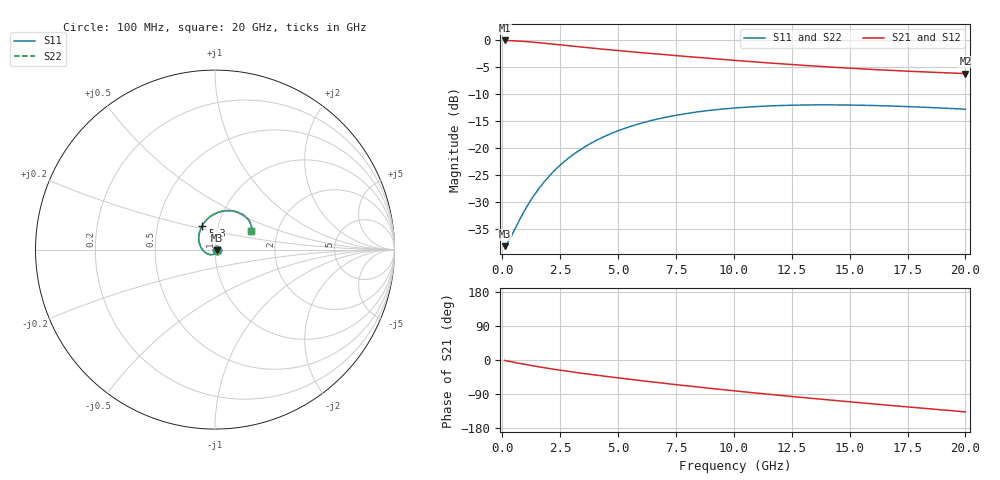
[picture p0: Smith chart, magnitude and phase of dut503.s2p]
! Touchstone file exported from HFSS 2024.1.0
!  File:  C:/UserFiles/LocalFiles/RDL_TSV_Batchsim/temp_RDL_TSV_503_1779737868.aedt
!  Generated:  03:52:16 AM May 26, 2026
!  Design:  RDL_TSV
!  Project:  temp_RDL_TSV_503_1779737868
!  Setup:  Setup1
!  Solution:  Sweep
! Variables:
!  dtsv = 9.07um
!  hbump = 3um
!  htsv = 76.11um
!  ldown = 307.32um
!  lrdl = 211.86um
!  p = 40
!  p1 = 40.47um
!  rhole = 10um
!  subl = 1769.4um
!  t = 450um
!  tdown = 2.39um
!  trdl = 2.42um
!  viad = 10um
!  wdown = 21.16um
!  wrdl = 28.24um
!  xbump = 18um
# GHz S MA R 50.000000
! Terminal data exported
! Port[1] = TM1_1_T1
! Port[2] = TM1_4_T1
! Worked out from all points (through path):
!   200 points, 100 MHz to 20 GHz, reference 50 ohm
!   highest |S21| = -0.11 dB at 100 MHz (marker M1); lowest = -6.2 dB at 20 GHz (marker M2)
!   group delay of S21, straight-line fit = 18.1 ps
!   lowest |S11| = -38.2 dB at 100 MHz (marker M3), VSWR 1.02, Z = 51.2 - j0.277 ohm
!   |S11| at or under -10 dB: start of sweep to end of sweep
!   |S22| runs from -38.2 to -12.0 dB; largest |S21 - S12| = 1e-14
!   S11 on the Smith chart (normalised r, x): 100 MHz: 1.02, -0.01; 5.3 GHz: 0.84, +0.23; 20 GHz: 1.46, +0.33
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0.1  0.01224 -12.8  0.9876 -1.3  0.9876 -1.3  0.01224 -12.8
! Gamma 0 0 0 0
! Port Impedance 50 0 50 0
0.2  0.01292 -25.4  0.9865 -2.5  0.9865 -2.5  0.01292 -25.4
0.3  0.01398 -37.8  0.9849 -3.7  0.9849 -3.7  0.01398 -37.8
0.8  0.02261 -89.0  0.9722 -9.6  0.9722 -9.6  0.02261 -89.0
1.1  0.0294 -111.5  0.9616 -12.9  0.9616 -12.9  0.0294 -111.5
1.4  0.03699 -130.0  0.9494 -16.2  0.9494 -16.2  0.03699 -130.0
1.7  0.04519 -145.7  0.936 -19.3  0.936 -19.3  0.0452 -145.7
2.1  0.05683 -163.4  0.9172 -23.2  0.9172 -23.2  0.05685 -163.4
2.5  0.069 -178.2  0.8983 -26.9  0.8983 -26.9  0.06903 -178.3
3  0.08454 166.1  0.8754 -31.3  0.8754 -31.3  0.08459 166.0
3.5  0.1 152.8  0.8537 -35.5  0.8537 -35.5  0.1001 152.8
4.3  0.1241 135.3  0.8215 -41.8  0.8215 -41.8  0.1242 135.3
5.3  0.1517 117.9  0.7851 -49.4  0.7851 -49.4  0.1518 117.9
6  0.169 107.8  0.7615 -54.5  0.7615 -54.5  0.1692 107.7
6.8  0.1865 97.7  0.736 -60.2  0.736 -60.2  0.1868 97.7
8.4  0.2145 81.2  0.6889 -71.0  0.6889 -71.0  0.2148 81.1
10.1  0.2343 67.3  0.6441 -81.9  0.6441 -81.9  0.2346 67.3
11.7  0.245 56.8  0.6071 -91.6  0.6071 -91.6  0.2454 56.8
13.4  0.2496 47.7  0.5733 -101.4  0.5733 -101.4  0.25 47.7
15  0.2488 40.8  0.5464 -110.3  0.5464 -110.3  0.2494 40.8
16.7  0.2441 34.9  0.5224 -119.5  0.5224 -119.5  0.2447 34.9
20  0.2278 27.6  0.4872 -137.0  0.4872 -137.0  0.2285 27.6
